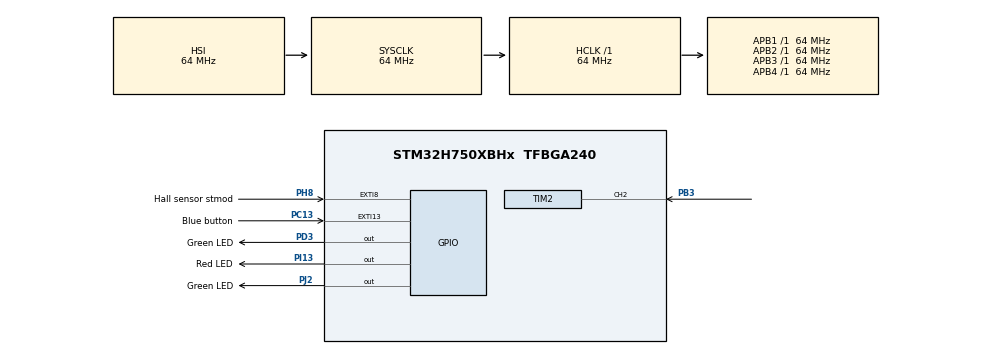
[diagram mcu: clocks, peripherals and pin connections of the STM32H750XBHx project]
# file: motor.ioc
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CORTEX_M7.default_mode_Activation=1
FREERTOS.Tasks01=rpmCounter,24,128,StartRpmCounter,Default,NULL,Dynamic,NULL,NULL;lcdUpdateTask,8,128,StartLcdUpdateTask,Default,NULL,Dynamic,NULL,NULL
Mcu.Family=STM32H7
Mcu.Name=STM32H750XBHx
Mcu.Package=TFBGA240
NVIC.EXTI15_10_IRQn=true\:5\:0\:false\:false\:true\:true\:true\:true\:true
NVIC.EXTI9_5_IRQn=true\:5\:0\:false\:false\:true\:true\:true\:true\:true
NVIC.PriorityGroup=NVIC_PRIORITYGROUP_4
NVIC.TIM1_UP_IRQn=true\:15\:0\:false\:false\:true\:false\:false\:true\:true
NVIC.TimeBase=TIM1_UP_IRQn
NVIC.TimeBaseIP=TIM1
PB3\ (JTDO/TRACESWO).Signal=S_TIM2_CH2
PC13.GPIO_Label=Blue button
PC13.Signal=GPXTI13
PD3.GPIO_Label=Green LED
PD3.Signal=GPIO_Output
PH8.GPIO_Label=Hall sensor stmod
PH8.Signal=GPXTI8
PI13.GPIO_Label=Red LED
PI13.PinState=GPIO_PIN_SET
PI13.Signal=GPIO_Output
PJ2.GPIO_Label=Green LED
PJ2.PinState=GPIO_PIN_SET
PJ2.Signal=GPIO_Output
ProjectManager.HeapSize=0x200
ProjectManager.StackSize=0x400
ProjectManager.TargetToolchain=STM32CubeIDE
RCC.ADCFreq_Value=129000000
RCC.APB1Freq_Value=64000000
RCC.APB2Freq_Value=64000000
RCC.APB3Freq_Value=64000000
RCC.APB4Freq_Value=64000000
RCC.CortexFreq_Value=64000000
RCC.DIVM3=1
RCC.DIVN3=4
RCC.DIVR3=6
RCC.HCLKFreq_Value=64000000
RCC.PLL3FRACN=0
RCC.SYSCLKFreq_VALUE=64000000
RCC.USBFreq_Value=129000000
SH.S_TIM2_CH2.0=TIM2_CH2,Input_Capture2_from_TI2
TIM2.Channel-Input_Capture2_from_TI2=TIM_CHANNEL_2
VP_FREERTOS_VS_CMSIS_V2.Mode=CMSIS_V2
VP_MEMORYMAP_VS_MEMORYMAP.Mode=CurAppReg
VP_SYS_VS_tim1.Mode=TIM1
VP_TIM2_VS_ClockSourceINT.Mode=Internal
board=custom

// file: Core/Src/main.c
/* USER CODE BEGIN Header */
/* USER CODE END Header */
#include "main.h"
#include "cmsis_os.h"

/* USER CODE BEGIN Includes */
#include "stdbool.h"
/* USER CODE END Includes */

/* USER CODE BEGIN PD */
#define TDC_MULTIPLIER 1.5f
#define TEETH_NUM 8		// including the missing tooth
#define TIMER_CLOCK_HZ 100
/* USER CODE END PD */

TIM_HandleTypeDef htim2;

/* Definitions for rpmCounter */
osThreadId_t rpmCounterHandle;
const osThreadAttr_t rpmCounter_attributes = {
  .name = "rpmCounter",
  .stack_size = 128 * 4,
  .priority = (osPriority_t) osPriorityNormal,
};
/* Definitions for lcdUpdateTask */
osThreadId_t lcdUpdateTaskHandle;
const osThreadAttr_t lcdUpdateTask_attributes = {
  .name = "lcdUpdateTask",
  .stack_size = 128 * 4,
  .priority = (osPriority_t) osPriorityLow,
};
/* USER CODE BEGIN PV */
osMessageQueueId_t hallQueueHandle;
volatile float current_rpm;
/* USER CODE END PV */

void SystemClock_Config(void);
static void MPU_Config(void);
static void MX_GPIO_Init(void);
static void MX_TIM2_Init(void);
void StartRpmCounter(void *argument);
void StartLcdUpdateTask(void *argument);

/* USER CODE BEGIN PFP */
void magnet_interrupt();
/* USER CODE END PFP */

int main(void)
{

  /* MPU Configuration--------------------------------------------------------*/
  MPU_Config();

  /* MCU Configuration--------------------------------------------------------*/

  /* Reset of all peripherals, Initializes the Flash interface and the Systick. */
  HAL_Init();

  /* Configure the system clock */
  SystemClock_Config();

  /* Initialize all configured peripherals */
  MX_GPIO_Init();
  MX_TIM2_Init();

  /* Init scheduler */
  osKernelInitialize();

  /* Create the thread(s) */
  /* creation of rpmCounter */
  rpmCounterHandle = osThreadNew(StartRpmCounter, NULL, &rpmCounter_attributes);

  /* creation of lcdUpdateTask */
  lcdUpdateTaskHandle = osThreadNew(StartLcdUpdateTask, NULL, &lcdUpdateTask_attributes);

  /* Start scheduler */
  osKernelStart();

  /* We should never get here as control is now taken by the scheduler */

  /* Infinite loop */
  while (1)
  {

  }
}

void SystemClock_Config(void)
{
  RCC_OscInitTypeDef RCC_OscInitStruct = {0};
  RCC_ClkInitTypeDef RCC_ClkInitStruct = {0};

  /** Supply configuration update enable
  */
  HAL_PWREx_ConfigSupply(PWR_LDO_SUPPLY);

  /** Configure the main internal regulator output voltage
  */
  __HAL_PWR_VOLTAGESCALING_CONFIG(PWR_REGULATOR_VOLTAGE_SCALE3);

  while(!__HAL_PWR_GET_FLAG(PWR_FLAG_VOSRDY)) {}

  /** Initializes the RCC Oscillators according to the specified parameters
  * in the RCC_OscInitTypeDef structure.
  */
  RCC_OscInitStruct.OscillatorType = RCC_OSCILLATORTYPE_HSI;
  RCC_OscInitStruct.HSIState = RCC_HSI_DIV1;
  RCC_OscInitStruct.HSICalibrationValue = RCC_HSICALIBRATION_DEFAULT;
  RCC_OscInitStruct.PLL.PLLState = RCC_PLL_NONE;
  if (HAL_RCC_OscConfig(&RCC_OscInitStruct) != HAL_OK)
  {
    Error_Handler();
  }

  /** Initializes the CPU, AHB and APB buses clocks
  */
  RCC_ClkInitStruct.ClockType = RCC_CLOCKTYPE_HCLK|RCC_CLOCKTYPE_SYSCLK
                              |RCC_CLOCKTYPE_PCLK1|RCC_CLOCKTYPE_PCLK2
                              |RCC_CLOCKTYPE_D3PCLK1|RCC_CLOCKTYPE_D1PCLK1;
  RCC_ClkInitStruct.SYSCLKSource = RCC_SYSCLKSOURCE_HSI;
  RCC_ClkInitStruct.SYSCLKDivider = RCC_SYSCLK_DIV1;
  RCC_ClkInitStruct.AHBCLKDivider = RCC_HCLK_DIV1;
  RCC_ClkInitStruct.APB3CLKDivider = RCC_APB3_DIV1;
  RCC_ClkInitStruct.APB1CLKDivider = RCC_APB1_DIV1;
  RCC_ClkInitStruct.APB2CLKDivider = RCC_APB2_DIV1;
  RCC_ClkInitStruct.APB4CLKDivider = RCC_APB4_DIV1;

  if (HAL_RCC_ClockConfig(&RCC_ClkInitStruct, FLASH_LATENCY_1) != HAL_OK)
  {
    Error_Handler();
  }
}

static void MX_TIM2_Init(void)
{

  TIM_ClockConfigTypeDef sClockSourceConfig = {0};
  TIM_MasterConfigTypeDef sMasterConfig = {0};
  TIM_IC_InitTypeDef sConfigIC = {0};

  htim2.Instance = TIM2;
  htim2.Init.Prescaler = 0;
  htim2.Init.CounterMode = TIM_COUNTERMODE_UP;
  htim2.Init.Period = 4294967295;
  htim2.Init.ClockDivision = TIM_CLOCKDIVISION_DIV1;
  htim2.Init.AutoReloadPreload = TIM_AUTORELOAD_PRELOAD_DISABLE;
  if (HAL_TIM_Base_Init(&htim2) != HAL_OK)
  {
    Error_Handler();
  }
  sClockSourceConfig.ClockSource = TIM_CLOCKSOURCE_INTERNAL;
  if (HAL_TIM_ConfigClockSource(&htim2, &sClockSourceConfig) != HAL_OK)
  {
    Error_Handler();
  }
  if (HAL_TIM_IC_Init(&htim2) != HAL_OK)
  {
    Error_Handler();
  }
  sMasterConfig.MasterOutputTrigger = TIM_TRGO_RESET;
  sMasterConfig.MasterSlaveMode = TIM_MASTERSLAVEMODE_DISABLE;
  if (HAL_TIMEx_MasterConfigSynchronization(&htim2, &sMasterConfig) != HAL_OK)
  {
    Error_Handler();
  }
  sConfigIC.ICPolarity = TIM_INPUTCHANNELPOLARITY_RISING;
  sConfigIC.ICSelection = TIM_ICSELECTION_DIRECTTI;
  sConfigIC.ICPrescaler = TIM_ICPSC_DIV1;
  sConfigIC.ICFilter = 0;
  if (HAL_TIM_IC_ConfigChannel(&htim2, &sConfigIC, TIM_CHANNEL_2) != HAL_OK)
  {
    Error_Handler();
  }

}

static void MX_GPIO_Init(void)
{
  GPIO_InitTypeDef GPIO_InitStruct = {0};

  /* GPIO Ports Clock Enable */
  __HAL_RCC_GPIOD_CLK_ENABLE();
  __HAL_RCC_GPIOB_CLK_ENABLE();
  __HAL_RCC_GPIOC_CLK_ENABLE();
  __HAL_RCC_GPIOI_CLK_ENABLE();
  __HAL_RCC_GPIOJ_CLK_ENABLE();
  __HAL_RCC_GPIOH_CLK_ENABLE();

  /*Configure GPIO pin Output Level */
  HAL_GPIO_WritePin(Green_LED_GPIO_Port, Green_LED_Pin, GPIO_PIN_RESET);

  /*Configure GPIO pin Output Level */
  HAL_GPIO_WritePin(Red_LED_GPIO_Port, Red_LED_Pin, GPIO_PIN_SET);

  /*Configure GPIO pin Output Level */
  HAL_GPIO_WritePin(Green_LEDJ2_GPIO_Port, Green_LEDJ2_Pin, GPIO_PIN_SET);

  /*Configure GPIO pin : Green_LED_Pin */
  GPIO_InitStruct.Pin = Green_LED_Pin;
  GPIO_InitStruct.Mode = GPIO_MODE_OUTPUT_PP;
  GPIO_InitStruct.Pull = GPIO_NOPULL;
  GPIO_InitStruct.Speed = GPIO_SPEED_FREQ_LOW;
  HAL_GPIO_Init(Green_LED_GPIO_Port, &GPIO_InitStruct);

  /*Configure GPIO pin : Blue_button_Pin */
  GPIO_InitStruct.Pin = Blue_button_Pin;
  GPIO_InitStruct.Mode = GPIO_MODE_IT_RISING;
  GPIO_InitStruct.Pull = GPIO_NOPULL;
  HAL_GPIO_Init(Blue_button_GPIO_Port, &GPIO_InitStruct);

  /*Configure GPIO pin : Red_LED_Pin */
  GPIO_InitStruct.Pin = Red_LED_Pin;
  GPIO_InitStruct.Mode = GPIO_MODE_OUTPUT_PP;
  GPIO_InitStruct.Pull = GPIO_NOPULL;
  GPIO_InitStruct.Speed = GPIO_SPEED_FREQ_LOW;
  HAL_GPIO_Init(Red_LED_GPIO_Port, &GPIO_InitStruct);

  /*Configure GPIO pin : Green_LEDJ2_Pin */
  GPIO_InitStruct.Pin = Green_LEDJ2_Pin;
  GPIO_InitStruct.Mode = GPIO_MODE_OUTPUT_PP;
  GPIO_InitStruct.Pull = GPIO_NOPULL;
  GPIO_InitStruct.Speed = GPIO_SPEED_FREQ_LOW;
  HAL_GPIO_Init(Green_LEDJ2_GPIO_Port, &GPIO_InitStruct);

  /*Configure GPIO pin : Hall_sensor_stmod_Pin */
  GPIO_InitStruct.Pin = Hall_sensor_stmod_Pin;
  GPIO_InitStruct.Mode = GPIO_MODE_IT_RISING;
  GPIO_InitStruct.Pull = GPIO_NOPULL;
  HAL_GPIO_Init(Hall_sensor_stmod_GPIO_Port, &GPIO_InitStruct);

  /* EXTI interrupt init*/
  HAL_NVIC_SetPriority(Hall_sensor_stmod_EXTI_IRQn, 5, 0);
  HAL_NVIC_EnableIRQ(Hall_sensor_stmod_EXTI_IRQn);

  HAL_NVIC_SetPriority(Blue_button_EXTI_IRQn, 5, 0);
  HAL_NVIC_EnableIRQ(Blue_button_EXTI_IRQn);

}

/* USER CODE BEGIN 4 */

void HAL_GPIO_EXTI_Callback(uint16_t GPIO_Pin) {
	switch (GPIO_Pin) {
		case Hall_sensor_stmod_Pin:
			magnet_interrupt();
			break;
		case Blue_button_Pin:
			break;
	}
}

/*
Ko magnet triggera senzor, se bo klical ta interrupt
Interrupt bo izračunal čas med dvema frontama, št. zobov in tdc in poslal v vrsto
*/
void magnet_interrupt() {
	uint32_t current_capture = __HAL_TIM_GET_COUNTER(&htim2);
	static uint32_t prev_capture = 0;
	uint32_t delta;

	if (current_capture >= prev_capture) {
	    delta = current_capture - prev_capture;
	} else {
	    delta = (0xFFFFFFFF - prev_capture) + current_capture + 1;
	}

	prev_capture = current_capture;

	static uint32_t prev_delta = 0;
    static uint32_t tooth_count = 0;

	bool TDC_detected = (delta > prev_delta * TDC_MULTIPLIER);

	if (TDC_detected) {
		tooth_count = 0;
	} else {
		tooth_count++;
	}

	prev_delta = delta;

	struct {
		uint32_t delta;
		bool TDC_detected;
		uint32_t tooth_count;
	} msg = {delta, TDC_detected, tooth_count};

	osStatus_t status = osMessageQueuePut(hallQueueHandle, &msg, 0, 0);

	if (status != osOK) {
		// TODO flash some led and write something on the screen
	}
}

/* USER CODE END 4 */

void StartRpmCounter(void *argument)
{
  /* USER CODE BEGIN 5 */
	struct {
		uint32_t delta;
		bool TDC_detected;
		uint32_t tooth_count;
	} msg;

	float rpm = 0.0f;
	const uint32_t expected_teeth = TEETH_NUM;
	const float timer_hz = TIMER_CLOCK_HZ;

	for (;;) {
		if (osMessageQueueGet(hallQueueHandle, &msg, NULL, osWaitForever) != osOK) {
			return;
		}

		if (msg.TDC_detected && msg.tooth_count != expected_teeth - 1) {
			// Handle error: misaligned wheel, skipped pulse, etc.
			// continue;
		}

		// Calculate instantaneous RPM when TDC is detected
		if (msg.TDC_detected) {
			// Time for one revolution = delta * number of teeth since last TDC
			float time_per_rev_sec = (float)(msg.delta * msg.tooth_count) / timer_hz;

			if (time_per_rev_sec > 0.0f) {
				rpm = 60.0f / time_per_rev_sec; // convert seconds per rev to RPM
			}

			current_rpm = rpm;
		}

		// Optional: you can also compute instantaneous tooth timing
		// float instant_rpm = 60.0f * timer_hz / msg.delta;
	}
  /* USER CODE END 5 */
}

void StartLcdUpdateTask(void *argument)
{
  /* USER CODE BEGIN StartLcdUpdateTask */
	/*
	char buffer[32];

	BSP_LCD_SetFont(&Font24);
	BSP_LCD_SetTextColor(LCD_COLOR_DARKBLUE);
	BSP_LCD_SetBackColor(LCD_COLOR_WHITE);

	for(;;) {
		// Format RPM into string
		snprintf(buffer, sizeof(buffer), "RPM: %lu   ", current_rpm);

		// Print at a fixed position
		BSP_LCD_DisplayStringAtLine(5, (uint8_t *)buffer);

		osDelay(200);
	}
	*/
  /* USER CODE END StartLcdUpdateTask */
}

 /* MPU Configuration */

void MPU_Config(void)
{
  MPU_Region_InitTypeDef MPU_InitStruct = {0};

  /* Disables the MPU */
  HAL_MPU_Disable();

  /** Initializes and configures the Region and the memory to be protected
  */
  MPU_InitStruct.Enable = MPU_REGION_ENABLE;
  MPU_InitStruct.Number = MPU_REGION_NUMBER0;
  MPU_InitStruct.BaseAddress = 0x0;
  MPU_InitStruct.Size = MPU_REGION_SIZE_4GB;
  MPU_InitStruct.SubRegionDisable = 0x87;
  MPU_InitStruct.TypeExtField = MPU_TEX_LEVEL0;
  MPU_InitStruct.AccessPermission = MPU_REGION_NO_ACCESS;
  MPU_InitStruct.DisableExec = MPU_INSTRUCTION_ACCESS_DISABLE;
  MPU_InitStruct.IsShareable = MPU_ACCESS_SHAREABLE;
  MPU_InitStruct.IsCacheable = MPU_ACCESS_NOT_CACHEABLE;
  MPU_InitStruct.IsBufferable = MPU_ACCESS_NOT_BUFFERABLE;

  HAL_MPU_ConfigRegion(&MPU_InitStruct);
  /* Enables the MPU */
  HAL_MPU_Enable(MPU_PRIVILEGED_DEFAULT);

}

void HAL_TIM_PeriodElapsedCallback(TIM_HandleTypeDef *htim)
{
  if (htim->Instance == TIM1)
  {
    HAL_IncTick();
  }
}

void Error_Handler(void)
{
  __disable_irq();
  while (1)
  {
  }
}
